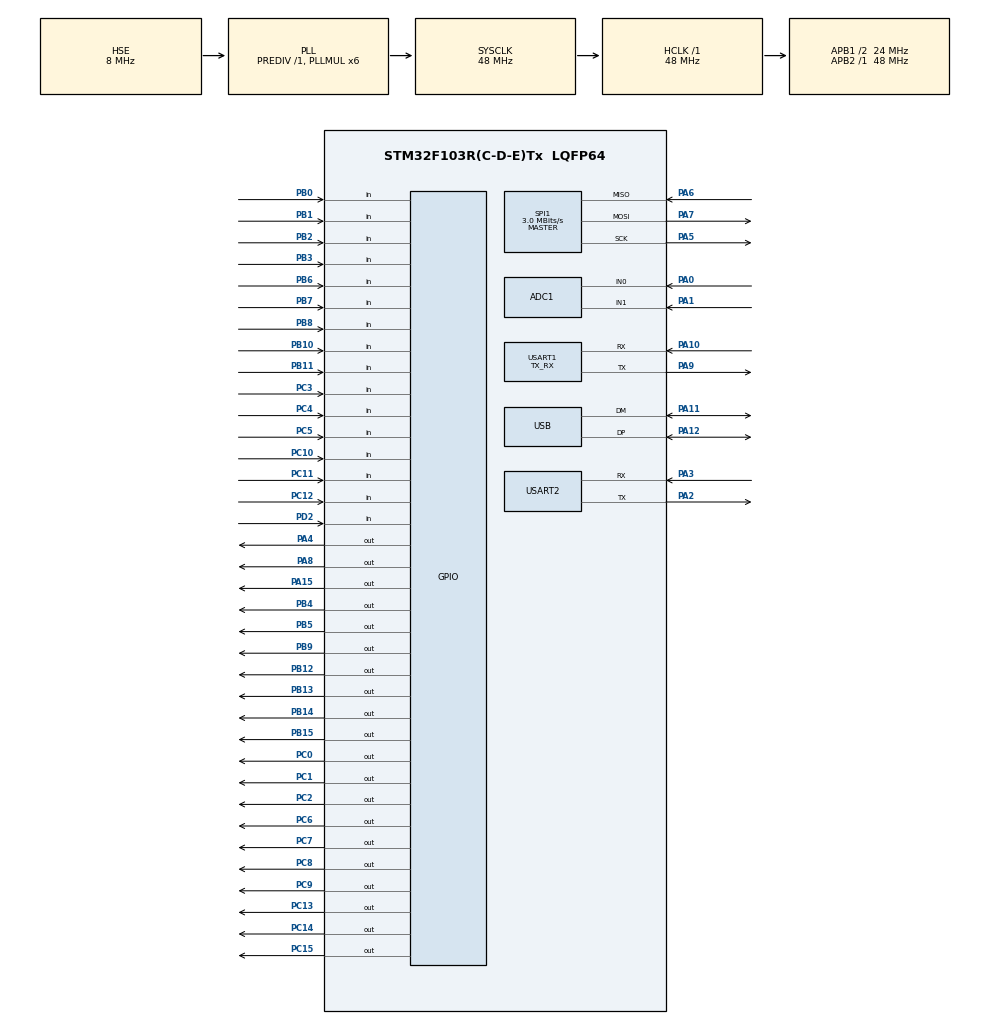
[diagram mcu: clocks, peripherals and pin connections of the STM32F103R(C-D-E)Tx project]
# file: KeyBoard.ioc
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ADC1.Channel-1\#ChannelRegularConversion=ADC_CHANNEL_1
ADC1.NbrOfConversionFlag=1
ADC1.Rank-1\#ChannelRegularConversion=1
ADC1.SamplingTime-1\#ChannelRegularConversion=ADC_SAMPLETIME_55CYCLES_5
ADC1.master=1
Dma.Request0=SPI1_TX
Dma.SPI1_TX.0.Direction=DMA_MEMORY_TO_PERIPH
Dma.SPI1_TX.0.Instance=DMA1_Channel3
Dma.SPI1_TX.0.MemDataAlignment=DMA_MDATAALIGN_BYTE
Dma.SPI1_TX.0.MemInc=DMA_MINC_ENABLE
Dma.SPI1_TX.0.Mode=DMA_NORMAL
Dma.SPI1_TX.0.PeriphDataAlignment=DMA_PDATAALIGN_BYTE
Dma.SPI1_TX.0.PeriphInc=DMA_PINC_DISABLE
Dma.SPI1_TX.0.Priority=DMA_PRIORITY_LOW
IWDG.Prescaler=IWDG_PRESCALER_256
IWDG.Reload=0xff
Mcu.Family=STM32F1
Mcu.Name=STM32F103R(C-D-E)Tx
Mcu.Package=LQFP64
NVIC.DMA1_Channel3_IRQn=true\:1\:1\:true\:false\:true\:false\:true
NVIC.PriorityGroup=NVIC_PRIORITYGROUP_2
NVIC.TIM6_IRQn=true\:0\:1\:true\:false\:true\:true\:true
NVIC.USART1_IRQn=true\:1\:2\:true\:false\:true\:true\:true
NVIC.USART2_IRQn=true\:1\:2\:true\:false\:true\:true\:true
NVIC.USB_LP_CAN1_RX0_IRQn=true\:0\:0\:false\:false\:true\:false\:true
PA0-WKUP.Signal=ADCx_IN0
PA1.Signal=ADCx_IN1
PA10.GPIO_PuPd=GPIO_PULLUP
PA10.Mode=Asynchronous
PA10.Signal=USART1_RX
PA11.Mode=Device
PA11.Signal=USB_DM
PA12.Mode=Device
PA12.Signal=USB_DP
PA13.Mode=Serial_Wire
PA13.Signal=SYS_JTMS-SWDIO
PA14.Mode=Serial_Wire
PA14.Signal=SYS_JTCK-SWCLK
PA15.PinState=GPIO_PIN_RESET
PA15.Signal=GPIO_Output
PA2.Mode=Asynchronous
PA2.Signal=USART2_TX
PA3.GPIO_PuPd=GPIO_PULLUP
PA3.Mode=Asynchronous
PA3.Signal=USART2_RX
PA4.GPIO_ModeDefaultOutputPP=GPIO_MODE_OUTPUT_PP
PA4.PinState=GPIO_PIN_RESET
PA4.Signal=GPIO_Output
PA5.Mode=Full_Duplex_Master
PA5.Signal=SPI1_SCK
PA6.GPIO_PuPd=GPIO_PULLDOWN
PA6.Mode=Full_Duplex_Master
PA6.Signal=SPI1_MISO
PA7.Mode=Full_Duplex_Master
PA7.Signal=SPI1_MOSI
PA8.GPIO_PuPd=GPIO_NOPULL
PA8.GPIO_Speed=GPIO_SPEED_FREQ_HIGH
PA8.PinState=GPIO_PIN_SET
PA8.Signal=GPIO_Output
PA9.Mode=Asynchronous
PA9.Signal=USART1_TX
PB0.GPIO_Mode=GPIO_MODE_INPUT
PB0.GPIO_PuPd=GPIO_PULLUP
PB0.Signal=GPIO_Input
PB1.GPIO_Mode=GPIO_MODE_INPUT
PB1.GPIO_PuPd=GPIO_PULLUP
PB1.Signal=GPIO_Input
PB10.GPIO_Mode=GPIO_MODE_INPUT
PB10.GPIO_PuPd=GPIO_PULLUP
PB10.Signal=GPIO_Input
PB11.GPIO_Mode=GPIO_MODE_INPUT
PB11.GPIO_PuPd=GPIO_PULLUP
PB11.Signal=GPIO_Input
PB12.GPIO_ModeDefaultOutputPP=GPIO_MODE_OUTPUT_PP
PB12.GPIO_PuPd=GPIO_NOPULL
PB12.GPIO_Speed=GPIO_SPEED_FREQ_HIGH
PB12.PinState=GPIO_PIN_SET
PB12.Signal=GPIO_Output
PB13.GPIO_ModeDefaultOutputPP=GPIO_MODE_OUTPUT_PP
PB13.GPIO_PuPd=GPIO_NOPULL
PB13.GPIO_Speed=GPIO_SPEED_FREQ_HIGH
PB13.PinState=GPIO_PIN_SET
PB13.Signal=GPIO_Output
PB14.GPIO_ModeDefaultOutputPP=GPIO_MODE_OUTPUT_PP
PB14.GPIO_PuPd=GPIO_NOPULL
PB14.GPIO_Speed=GPIO_SPEED_FREQ_HIGH
PB14.PinState=GPIO_PIN_SET
PB14.Signal=GPIO_Output
PB15.GPIO_ModeDefaultOutputPP=GPIO_MODE_OUTPUT_PP
PB15.GPIO_PuPd=GPIO_NOPULL
PB15.GPIO_Speed=GPIO_SPEED_FREQ_HIGH
PB15.PinState=GPIO_PIN_SET
PB15.Signal=GPIO_Output
PB2.GPIO_Mode=GPIO_MODE_INPUT
PB2.GPIO_PuPd=GPIO_PULLUP
PB2.Signal=GPIO_Input
PB3.GPIO_Mode=GPIO_MODE_INPUT
PB3.GPIO_PuPd=GPIO_PULLUP
PB3.Signal=GPIO_Input
PB4.GPIO_ModeDefaultOutputPP=GPIO_MODE_OUTPUT_OD
PB4.GPIO_PuPd=GPIO_NOPULL
PB4.GPIO_Speed=GPIO_SPEED_FREQ_HIGH
PB4.PinState=GPIO_PIN_SET
PB4.Signal=GPIO_Output
PB5.PinState=GPIO_PIN_RESET
PB5.Signal=GPIO_Output
PB6.GPIO_PuPd=GPIO_PULLUP
PB6.Signal=GPIO_Input
PB7.GPIO_Mode=GPIO_MODE_INPUT
PB7.GPIO_PuPd=GPIO_PULLDOWN
PB7.Signal=GPIO_Input
PB8.GPIO_PuPd=GPIO_PULLUP
PB8.Signal=GPIO_Input
PB9.GPIO_ModeDefaultOutputPP=GPIO_MODE_OUTPUT_OD
PB9.GPIO_PuPd=GPIO_NOPULL
PB9.GPIO_Speed=GPIO_SPEED_FREQ_HIGH
PB9.PinState=GPIO_PIN_SET
PB9.Signal=GPIO_Output
PC0.GPIO_ModeDefaultOutputPP=GPIO_MODE_OUTPUT_PP
PC0.GPIO_PuPd=GPIO_NOPULL
PC0.GPIO_Speed=GPIO_SPEED_FREQ_HIGH
PC0.PinState=GPIO_PIN_SET
PC0.Signal=GPIO_Output
PC1.GPIO_ModeDefaultOutputPP=GPIO_MODE_OUTPUT_PP
PC1.GPIO_PuPd=GPIO_NOPULL
PC1.GPIO_Speed=GPIO_SPEED_FREQ_HIGH
PC1.PinState=GPIO_PIN_SET
PC1.Signal=GPIO_Output
PC10.GPIO_Mode=GPIO_MODE_INPUT
PC10.GPIO_PuPd=GPIO_PULLUP
PC10.Signal=GPIO_Input
PC11.GPIO_Mode=GPIO_MODE_INPUT
PC11.GPIO_PuPd=GPIO_PULLUP
PC11.Signal=GPIO_Input
PC12.GPIO_Mode=GPIO_MODE_INPUT
PC12.GPIO_PuPd=GPIO_PULLUP
PC12.Signal=GPIO_Input
PC13-TAMPER-RTC.GPIO_ModeDefaultOutputPP=GPIO_MODE_OUTPUT_PP
PC13-TAMPER-RTC.GPIO_PuPd=GPIO_NOPULL
PC13-TAMPER-RTC.GPIO_Speed=GPIO_SPEED_FREQ_LOW
PC13-TAMPER-RTC.PinState=GPIO_PIN_RESET
PC13-TAMPER-RTC.Signal=GPIO_Output
PC14-OSC32_IN.GPIO_ModeDefaultOutputPP=GPIO_MODE_OUTPUT_PP
PC14-OSC32_IN.GPIO_PuPd=GPIO_NOPULL
PC14-OSC32_IN.GPIO_Speed=GPIO_SPEED_FREQ_LOW
PC14-OSC32_IN.PinState=GPIO_PIN_RESET
PC14-OSC32_IN.Signal=GPIO_Output
PC15-OSC32_OUT.GPIO_ModeDefaultOutputPP=GPIO_MODE_OUTPUT_PP
PC15-OSC32_OUT.GPIO_PuPd=GPIO_NOPULL
PC15-OSC32_OUT.GPIO_Speed=GPIO_SPEED_FREQ_LOW
PC15-OSC32_OUT.PinState=GPIO_PIN_RESET
PC15-OSC32_OUT.Signal=GPIO_Output
PC2.GPIO_ModeDefaultOutputPP=GPIO_MODE_OUTPUT_PP
PC2.GPIO_PuPd=GPIO_NOPULL
PC2.GPIO_Speed=GPIO_SPEED_FREQ_HIGH
PC2.PinState=GPIO_PIN_SET
PC2.Signal=GPIO_Output
PC3.GPIO_Mode=GPIO_MODE_INPUT
PC3.GPIO_PuPd=GPIO_PULLUP
PC3.Signal=GPIO_Input
PC4.GPIO_Mode=GPIO_MODE_INPUT
PC4.GPIO_PuPd=GPIO_PULLUP
PC4.Signal=GPIO_Input
PC5.GPIO_Mode=GPIO_MODE_INPUT
PC5.GPIO_PuPd=GPIO_PULLUP
PC5.Signal=GPIO_Input
PC6.GPIO_ModeDefaultOutputPP=GPIO_MODE_OUTPUT_PP
PC6.GPIO_PuPd=GPIO_NOPULL
PC6.GPIO_Speed=GPIO_SPEED_FREQ_HIGH
PC6.PinState=GPIO_PIN_SET
PC6.Signal=GPIO_Output
PC7.GPIO_ModeDefaultOutputPP=GPIO_MODE_OUTPUT_PP
PC7.GPIO_PuPd=GPIO_NOPULL
PC7.GPIO_Speed=GPIO_SPEED_FREQ_HIGH
PC7.PinState=GPIO_PIN_SET
PC7.Signal=GPIO_Output
PC8.GPIO_ModeDefaultOutputPP=GPIO_MODE_OUTPUT_PP
PC8.GPIO_PuPd=GPIO_NOPULL
PC8.GPIO_Speed=GPIO_SPEED_FREQ_HIGH
PC8.PinState=GPIO_PIN_SET
PC8.Signal=GPIO_Output
PC9.GPIO_ModeDefaultOutputPP=GPIO_MODE_OUTPUT_PP
PC9.GPIO_PuPd=GPIO_NOPULL
PC9.GPIO_Speed=GPIO_SPEED_FREQ_HIGH
PC9.PinState=GPIO_PIN_SET
PC9.Signal=GPIO_Output
PD0-OSC_IN.Mode=HSE-External-Oscillator
PD0-OSC_IN.Signal=RCC_OSC_IN
PD1-OSC_OUT.Mode=HSE-External-Oscillator
PD1-OSC_OUT.Signal=RCC_OSC_OUT
PD2.GPIO_PuPd=GPIO_PULLUP
PD2.Signal=GPIO_Input
ProjectManager.HeapSize=0x200
ProjectManager.StackSize=0x400
ProjectManager.TargetToolchain=MDK-ARM V4
RCC.ADCPresc=RCC_ADCPCLK2_DIV4
RCC.AHBFreq_Value=48000000
RCC.APB1CLKDivider=RCC_HCLK_DIV2
RCC.APB1Freq_Value=24000000
RCC.APB1TimFreq_Value=48000000
RCC.APB2Freq_Value=48000000
RCC.APB2TimFreq_Value=48000000
RCC.HCLKFreq_Value=48000000
RCC.PLLMUL=RCC_PLL_MUL6
RCC.SYSCLKFreq_VALUE=48000000
RCC.SYSCLKSource=RCC_SYSCLKSOURCE_PLLCLK
RCC.USBFreq_Value=48000000
SH.ADCx_IN0.0=ADC1_IN0,IN0
SH.ADCx_IN1.0=ADC1_IN1,IN1
SPI1.BaudRatePrescaler=SPI_BAUDRATEPRESCALER_16
SPI1.CLKPolarity=SPI_POLARITY_HIGH
SPI1.CRCCalculation=SPI_CRCCALCULATION_DISABLE
SPI1.CalculateBaudRate=3.0 MBits/s
SPI1.DataSize=SPI_DATASIZE_8BIT
SPI1.Direction=SPI_DIRECTION_2LINES
SPI1.Mode=SPI_MODE_MASTER
SPI1.VirtualType=VM_MASTER
TIM6.Period=1000-1
TIM6.Prescaler=48-1
USART1.Mode=MODE_TX_RX
USART1.VirtualMode=VM_ASYNC
USART2.VirtualMode=VM_ASYNC
USB.low_power_enable=DISABLE
USB_DEVICE.CLASS_NAME_FS=HID
USB_DEVICE.HID_FS_BINTERVAL=1
USB_DEVICE.MANUFACTURER_STRING=Analog Dragon
USB_DEVICE.PRODUCT_STRING_HID_FS=Pidan Keyboard
USB_DEVICE.USBD_MAX_STR_DESC_SIZ=0x200
USB_DEVICE.USBD_SELF_POWERED=0
USB_DEVICE.VirtualMode=Hid
USB_DEVICE.VirtualModeFS=Hid_FS
VP_ADC1_Vref_Input.Mode=IN-Vrefint
VP_IWDG_VS_IWDG.Mode=IWDG_Activate
VP_TIM6_VS_ClockSourceINT.Mode=Enable_Timer
VP_USB_DEVICE_VS_USB_DEVICE_HID_FS.Mode=HID_FS
board=custom

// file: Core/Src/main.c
/* USER CODE BEGIN Header */
/**
  ******************************************************************************
  * @file           : main.c
  * @brief          : Main program body
  ******************************************************************************
  * @attention
  *
  * <h2><center>&copy; Copyright (c) 2020 STMicroelectronics.
  * All rights reserved.</center></h2>
  *
  * This software component is licensed by ST under Ultimate Liberty license
  * SLA0044, the "License"; You may not use this file except in compliance with
  * the License. You may obtain a copy of the License at:
  *                             www.st.com/SLA0044
  *
  ******************************************************************************
  */
/* USER CODE END Header */
#include "main.h"
#include "usb_device.h"

/* USER CODE BEGIN PD */

#define IO_DEBUG 0

/* USER CODE END PD */

ADC_HandleTypeDef hadc1;

IWDG_HandleTypeDef hiwdg;

SPI_HandleTypeDef hspi1;
DMA_HandleTypeDef hdma_spi1_tx;

TIM_HandleTypeDef htim6;

UART_HandleTypeDef huart1;
UART_HandleTypeDef huart2;

void SystemClock_Config(void);
static void MX_GPIO_Init(void);
static void MX_DMA_Init(void);
static void MX_ADC1_Init(void);
static void MX_IWDG_Init(void);
static void MX_SPI1_Init(void);
static void MX_USART1_UART_Init(void);
static void MX_TIM6_Init(void);
static void MX_USART2_UART_Init(void);

int main(void)
{

  /* MCU Configuration--------------------------------------------------------*/

  /* Reset of all peripherals, Initializes the Flash interface and the Systick. */
  HAL_Init();

  /* Configure the system clock */
  SystemClock_Config();

  /* Initialize all configured peripherals */
  MX_GPIO_Init();
  MX_DMA_Init();
  MX_ADC1_Init();
  MX_IWDG_Init();
  MX_SPI1_Init();
  MX_USART1_UART_Init();
  MX_USB_DEVICE_Init();
  MX_TIM6_Init();
  MX_USART2_UART_Init();
  /* USER CODE BEGIN 2 */

  //存储数据提取
  SaveDataInit();

  //键盘扫描定时器，19K / 9 = 2.1K，滤波3次，刷新率大概在700Hz左右
  //商用键盘扫描频率通常在250Hz左右
 	HAL_TIM_Base_Start_IT(&htim6);

  //串口rx
  HAL_UART_Receive_IT_mine(&huart1, UsartRxBuffer, UsartRxOut, UART_LEN);

  while (1){

		if(SysTime.SysTimeFLG1ms){
			SysTime.SysTimeFLG1ms = 0;
		}

		if(SysTime.SysTimeFLG10ms){
			SysTime.SysTimeFLG10ms = 0;
      BatteryTask();
      if(hUsbDeviceFS.dev_state == USBD_STATE_CONFIGURED){  //连接上USB直接判断为USB模式
        SysState.COM = USB_MODE;
        break;
      }
		}

		if(SysTime.SysTimeFLG100ms){
			SysTime.SysTimeFLG100ms = 0;
      HAL_IWDG_Refresh(&hiwdg);
		}

		if(SysTime.SysTimeFLG1s){
			SysTime.SysTimeFLG1s = 0;
      if(SysTime.SysTimeCNT1s >= 5){    //不连接USB，持续上电5秒进入BLE模式
        SysState.COM = BLE_MODE;
        break;
      }
		}

		if(SysTime.SysTimeFLG1min){
			SysTime.SysTimeFLG1min = 0;
		}

		if(SysTime.SysTimeFLG1h){
			SysTime.SysTimeFLG1h = 0;
		}
  }
  SetPower(1);
  ModeChangeTask();

  /* USER CODE END 2 */

  /* Infinite loop */
  /* USER CODE BEGIN WHILE */
  while (1)
  {
#if IO_DEBUG != 0
    LED1_IO = 0;
#endif

		if(SysTime.SysTimeFLG1ms){
#if IO_DEBUG != 0
      LED1_IO = 1;
#endif
			SysTime.SysTimeFLG1ms = 0;
      KeyboardTask(); //1%
		}

		if(SysTime.SysTimeFLG10ms){
			SysTime.SysTimeFLG10ms = 0;
      UartRecTask();
      BLEMonitorTask();
      BatteryTask();
      if((SysTime.SysTimeCNT10ms & 1) == 0){ //50Hz
        BackLedTask();
        SaveDataTask();
      }
#if IO_DEBUG == 0
      KeyboardLedTask();
#endif
		}

		if(SysTime.SysTimeFLG100ms){
			SysTime.SysTimeFLG100ms = 0;
      HAL_IWDG_Refresh(&hiwdg);
		}

		if(SysTime.SysTimeFLG1s){
			SysTime.SysTimeFLG1s = 0;
      ModeChangeTask();
		}

		if(SysTime.SysTimeFLG1min){
			SysTime.SysTimeFLG1min = 0;
		}

		if(SysTime.SysTimeFLG1h){
			SysTime.SysTimeFLG1h = 0;
		}
    /* USER CODE END WHILE */

  }
}

void SystemClock_Config(void)
{
  RCC_OscInitTypeDef RCC_OscInitStruct = {0};
  RCC_ClkInitTypeDef RCC_ClkInitStruct = {0};
  RCC_PeriphCLKInitTypeDef PeriphClkInit = {0};

  /** Initializes the RCC Oscillators according to the specified parameters
  * in the RCC_OscInitTypeDef structure.
  */
  RCC_OscInitStruct.OscillatorType = RCC_OSCILLATORTYPE_LSI|RCC_OSCILLATORTYPE_HSE;
  RCC_OscInitStruct.HSEState = RCC_HSE_ON;
  RCC_OscInitStruct.HSEPredivValue = RCC_HSE_PREDIV_DIV1;
  RCC_OscInitStruct.HSIState = RCC_HSI_ON;
  RCC_OscInitStruct.LSIState = RCC_LSI_ON;
  RCC_OscInitStruct.PLL.PLLState = RCC_PLL_ON;
  RCC_OscInitStruct.PLL.PLLSource = RCC_PLLSOURCE_HSE;
  RCC_OscInitStruct.PLL.PLLMUL = RCC_PLL_MUL6;
  if (HAL_RCC_OscConfig(&RCC_OscInitStruct) != HAL_OK)
  {
    Error_Handler();
  }
  /** Initializes the CPU, AHB and APB buses clocks
  */
  RCC_ClkInitStruct.ClockType = RCC_CLOCKTYPE_HCLK|RCC_CLOCKTYPE_SYSCLK
                              |RCC_CLOCKTYPE_PCLK1|RCC_CLOCKTYPE_PCLK2;
  RCC_ClkInitStruct.SYSCLKSource = RCC_SYSCLKSOURCE_PLLCLK;
  RCC_ClkInitStruct.AHBCLKDivider = RCC_SYSCLK_DIV1;
  RCC_ClkInitStruct.APB1CLKDivider = RCC_HCLK_DIV2;
  RCC_ClkInitStruct.APB2CLKDivider = RCC_HCLK_DIV1;

  if (HAL_RCC_ClockConfig(&RCC_ClkInitStruct, FLASH_LATENCY_1) != HAL_OK)
  {
    Error_Handler();
  }
  PeriphClkInit.PeriphClockSelection = RCC_PERIPHCLK_ADC|RCC_PERIPHCLK_USB;
  PeriphClkInit.AdcClockSelection = RCC_ADCPCLK2_DIV4;
  PeriphClkInit.UsbClockSelection = RCC_USBCLKSOURCE_PLL;
  if (HAL_RCCEx_PeriphCLKConfig(&PeriphClkInit) != HAL_OK)
  {
    Error_Handler();
  }
}

static void MX_ADC1_Init(void)
{

  ADC_ChannelConfTypeDef sConfig = {0};

  /** Common config
  */
  hadc1.Instance = ADC1;
  hadc1.Init.ScanConvMode = ADC_SCAN_ENABLE;
  hadc1.Init.ContinuousConvMode = DISABLE;
  hadc1.Init.DiscontinuousConvMode = ENABLE;
  hadc1.Init.NbrOfDiscConversion = 1;
  hadc1.Init.ExternalTrigConv = ADC_SOFTWARE_START;
  hadc1.Init.DataAlign = ADC_DATAALIGN_RIGHT;
  hadc1.Init.NbrOfConversion = 3;
  if (HAL_ADC_Init(&hadc1) != HAL_OK)
  {
    Error_Handler();
  }
  /** Configure Regular Channel
  */
  sConfig.Channel = ADC_CHANNEL_0;
  sConfig.Rank = ADC_REGULAR_RANK_1;
  sConfig.SamplingTime = ADC_SAMPLETIME_239CYCLES_5;
  if (HAL_ADC_ConfigChannel(&hadc1, &sConfig) != HAL_OK)
  {
    Error_Handler();
  }
  /** Configure Regular Channel
  */
  sConfig.Channel = ADC_CHANNEL_1;
  sConfig.Rank = ADC_REGULAR_RANK_2;
  if (HAL_ADC_ConfigChannel(&hadc1, &sConfig) != HAL_OK)
  {
    Error_Handler();
  }
  /** Configure Regular Channel
  */
  sConfig.Channel = ADC_CHANNEL_VREFINT;
  sConfig.Rank = ADC_REGULAR_RANK_3;
  if (HAL_ADC_ConfigChannel(&hadc1, &sConfig) != HAL_OK)
  {
    Error_Handler();
  }
  /* USER CODE BEGIN ADC1_Init 2 */

  HAL_ADCEx_Calibration_Start(&hadc1);

  /* USER CODE END ADC1_Init 2 */

}

static void MX_IWDG_Init(void)
{

  hiwdg.Instance = IWDG;
  hiwdg.Init.Prescaler = IWDG_PRESCALER_256;
  hiwdg.Init.Reload = 0xff;
  if (HAL_IWDG_Init(&hiwdg) != HAL_OK)
  {
    Error_Handler();
  }

}

static void MX_SPI1_Init(void)
{

  /* SPI1 parameter configuration*/
  hspi1.Instance = SPI1;
  hspi1.Init.Mode = SPI_MODE_MASTER;
  hspi1.Init.Direction = SPI_DIRECTION_2LINES;
  hspi1.Init.DataSize = SPI_DATASIZE_8BIT;
  hspi1.Init.CLKPolarity = SPI_POLARITY_HIGH;
  hspi1.Init.CLKPhase = SPI_PHASE_2EDGE;
  hspi1.Init.NSS = SPI_NSS_SOFT;
  hspi1.Init.BaudRatePrescaler = SPI_BAUDRATEPRESCALER_16;
  hspi1.Init.FirstBit = SPI_FIRSTBIT_MSB;
  hspi1.Init.TIMode = SPI_TIMODE_DISABLE;
  hspi1.Init.CRCCalculation = SPI_CRCCALCULATION_DISABLE;
  hspi1.Init.CRCPolynomial = 10;
  if (HAL_SPI_Init(&hspi1) != HAL_OK)
  {
    Error_Handler();
  }

}

static void MX_TIM6_Init(void)
{

  TIM_MasterConfigTypeDef sMasterConfig = {0};

  htim6.Instance = TIM6;
  htim6.Init.Prescaler = 12-1;
  htim6.Init.CounterMode = TIM_COUNTERMODE_UP;
  htim6.Init.Period = 210-1;
  htim6.Init.AutoReloadPreload = TIM_AUTORELOAD_PRELOAD_DISABLE;
  if (HAL_TIM_Base_Init(&htim6) != HAL_OK)
  {
    Error_Handler();
  }
  sMasterConfig.MasterOutputTrigger = TIM_TRGO_RESET;
  sMasterConfig.MasterSlaveMode = TIM_MASTERSLAVEMODE_DISABLE;
  if (HAL_TIMEx_MasterConfigSynchronization(&htim6, &sMasterConfig) != HAL_OK)
  {
    Error_Handler();
  }

}

static void MX_USART1_UART_Init(void)
{

  huart1.Instance = USART1;
  huart1.Init.BaudRate = 115200;
  huart1.Init.WordLength = UART_WORDLENGTH_8B;
  huart1.Init.StopBits = UART_STOPBITS_1;
  huart1.Init.Parity = UART_PARITY_NONE;
  huart1.Init.Mode = UART_MODE_TX_RX;
  huart1.Init.HwFlowCtl = UART_HWCONTROL_NONE;
  huart1.Init.OverSampling = UART_OVERSAMPLING_16;
  if (HAL_UART_Init(&huart1) != HAL_OK)
  {
    Error_Handler();
  }

}

static void MX_USART2_UART_Init(void)
{

  huart2.Instance = USART2;
  huart2.Init.BaudRate = 115200;
  huart2.Init.WordLength = UART_WORDLENGTH_8B;
  huart2.Init.StopBits = UART_STOPBITS_1;
  huart2.Init.Parity = UART_PARITY_NONE;
  huart2.Init.Mode = UART_MODE_TX_RX;
  huart2.Init.HwFlowCtl = UART_HWCONTROL_NONE;
  huart2.Init.OverSampling = UART_OVERSAMPLING_16;
  if (HAL_UART_Init(&huart2) != HAL_OK)
  {
    Error_Handler();
  }

}

static void MX_DMA_Init(void)
{

  /* DMA controller clock enable */
  __HAL_RCC_DMA1_CLK_ENABLE();

  /* DMA interrupt init */
  /* DMA1_Channel3_IRQn interrupt configuration */
  HAL_NVIC_SetPriority(DMA1_Channel3_IRQn, 1, 1);
  HAL_NVIC_EnableIRQ(DMA1_Channel3_IRQn);

}

static void MX_GPIO_Init(void)
{
  GPIO_InitTypeDef GPIO_InitStruct = {0};

  /* GPIO Ports Clock Enable */
  __HAL_RCC_GPIOA_CLK_ENABLE();
  __HAL_RCC_GPIOB_CLK_ENABLE();
  __HAL_RCC_GPIOC_CLK_ENABLE();
  __HAL_RCC_GPIOD_CLK_ENABLE();

  /*Configure GPIO pin Output Level */
  HAL_GPIO_WritePin(GPIOC, GPIO_PIN_0|GPIO_PIN_1|GPIO_PIN_2|GPIO_PIN_13
                          |GPIO_PIN_14|GPIO_PIN_15, GPIO_PIN_RESET);

  /*Configure GPIO pin Output Level */
  HAL_GPIO_WritePin(GPIOC, GPIO_PIN_6|GPIO_PIN_7|GPIO_PIN_8|GPIO_PIN_9, GPIO_PIN_SET);

  /*Configure GPIO pin Output Level */
  HAL_GPIO_WritePin(GPIOA, GPIO_PIN_4|GPIO_PIN_15, GPIO_PIN_RESET);

  /*Configure GPIO pin Output Level */
  HAL_GPIO_WritePin(GPIOB, GPIO_PIN_12|GPIO_PIN_13|GPIO_PIN_14|GPIO_PIN_15
                          |GPIO_PIN_4|GPIO_PIN_9, GPIO_PIN_SET);

  /*Configure GPIO pin Output Level */
  HAL_GPIO_WritePin(GPIOA, GPIO_PIN_8, GPIO_PIN_SET);

  /*Configure GPIO pin Output Level */
  HAL_GPIO_WritePin(GPIOB, GPIO_PIN_5, GPIO_PIN_RESET);

  /*Configure GPIO pins : PC13 PC14 PC15 */
  GPIO_InitStruct.Pin = GPIO_PIN_13|GPIO_PIN_14|GPIO_PIN_15;
  GPIO_InitStruct.Mode = GPIO_MODE_OUTPUT_PP;
  GPIO_InitStruct.Pull = GPIO_NOPULL;
  GPIO_InitStruct.Speed = GPIO_SPEED_FREQ_LOW;
  HAL_GPIO_Init(GPIOC, &GPIO_InitStruct);

  /*Configure GPIO pins : PC0 PC1 PC2 PC6
                           PC7 PC8 PC9 */
  GPIO_InitStruct.Pin = GPIO_PIN_0|GPIO_PIN_1|GPIO_PIN_2|GPIO_PIN_6
                          |GPIO_PIN_7|GPIO_PIN_8|GPIO_PIN_9;
  GPIO_InitStruct.Mode = GPIO_MODE_OUTPUT_PP;
  GPIO_InitStruct.Pull = GPIO_NOPULL;
  GPIO_InitStruct.Speed = GPIO_SPEED_FREQ_HIGH;
  HAL_GPIO_Init(GPIOC, &GPIO_InitStruct);

  /*Configure GPIO pins : PC3 PC4 PC5 PC10
                           PC11 PC12 */
  GPIO_InitStruct.Pin = GPIO_PIN_3|GPIO_PIN_4|GPIO_PIN_5|GPIO_PIN_10
                          |GPIO_PIN_11|GPIO_PIN_12;
  GPIO_InitStruct.Mode = GPIO_MODE_INPUT;
  GPIO_InitStruct.Pull = GPIO_PULLUP;
  HAL_GPIO_Init(GPIOC, &GPIO_InitStruct);

  /*Configure GPIO pins : PA4 PA15 */
  GPIO_InitStruct.Pin = GPIO_PIN_4|GPIO_PIN_15;
  GPIO_InitStruct.Mode = GPIO_MODE_OUTPUT_PP;
  GPIO_InitStruct.Pull = GPIO_NOPULL;
  GPIO_InitStruct.Speed = GPIO_SPEED_FREQ_LOW;
  HAL_GPIO_Init(GPIOA, &GPIO_InitStruct);

  /*Configure GPIO pins : PB0 PB1 PB2 PB10
                           PB11 PB3 PB6 PB8 */
  GPIO_InitStruct.Pin = GPIO_PIN_0|GPIO_PIN_1|GPIO_PIN_2|GPIO_PIN_10
                          |GPIO_PIN_11|GPIO_PIN_3|GPIO_PIN_6|GPIO_PIN_8;
  GPIO_InitStruct.Mode = GPIO_MODE_INPUT;
  GPIO_InitStruct.Pull = GPIO_PULLUP;
  HAL_GPIO_Init(GPIOB, &GPIO_InitStruct);

  /*Configure GPIO pins : PB12 PB13 PB14 PB15 */
  GPIO_InitStruct.Pin = GPIO_PIN_12|GPIO_PIN_13|GPIO_PIN_14|GPIO_PIN_15;
  GPIO_InitStruct.Mode = GPIO_MODE_OUTPUT_PP;
  GPIO_InitStruct.Pull = GPIO_NOPULL;
  GPIO_InitStruct.Speed = GPIO_SPEED_FREQ_HIGH;
  HAL_GPIO_Init(GPIOB, &GPIO_InitStruct);

  /*Configure GPIO pin : PA8 */
  GPIO_InitStruct.Pin = GPIO_PIN_8;
  GPIO_InitStruct.Mode = GPIO_MODE_OUTPUT_PP;
  GPIO_InitStruct.Pull = GPIO_NOPULL;
  GPIO_InitStruct.Speed = GPIO_SPEED_FREQ_HIGH;
  HAL_GPIO_Init(GPIOA, &GPIO_InitStruct);

  /*Configure GPIO pin : PD2 */
  GPIO_InitStruct.Pin = GPIO_PIN_2;
  GPIO_InitStruct.Mode = GPIO_MODE_INPUT;
  GPIO_InitStruct.Pull = GPIO_PULLUP;
  HAL_GPIO_Init(GPIOD, &GPIO_InitStruct);

  /*Configure GPIO pins : PB4 PB9 */
  GPIO_InitStruct.Pin = GPIO_PIN_4|GPIO_PIN_9;
  GPIO_InitStruct.Mode = GPIO_MODE_OUTPUT_OD;
  GPIO_InitStruct.Pull = GPIO_NOPULL;
  GPIO_InitStruct.Speed = GPIO_SPEED_FREQ_HIGH;
  HAL_GPIO_Init(GPIOB, &GPIO_InitStruct);

  /*Configure GPIO pin : PB5 */
  GPIO_InitStruct.Pin = GPIO_PIN_5;
  GPIO_InitStruct.Mode = GPIO_MODE_OUTPUT_PP;
  GPIO_InitStruct.Pull = GPIO_NOPULL;
  GPIO_InitStruct.Speed = GPIO_SPEED_FREQ_LOW;
  HAL_GPIO_Init(GPIOB, &GPIO_InitStruct);

  /*Configure GPIO pin : PB7 */
  GPIO_InitStruct.Pin = GPIO_PIN_7;
  GPIO_InitStruct.Mode = GPIO_MODE_INPUT;
  GPIO_InitStruct.Pull = GPIO_PULLDOWN;
  HAL_GPIO_Init(GPIOB, &GPIO_InitStruct);

}

void Error_Handler(void)
{
  /* USER CODE BEGIN Error_Handler_Debug */
  /* User can add his own implementation to report the HAL error return state */
  __disable_irq();
  while (1)
  {
    HAL_NVIC_SystemReset();
  }
  /* USER CODE END Error_Handler_Debug */
}

/************************ (C) COPYRIGHT STMicroelectronics *****END OF FILE****/
